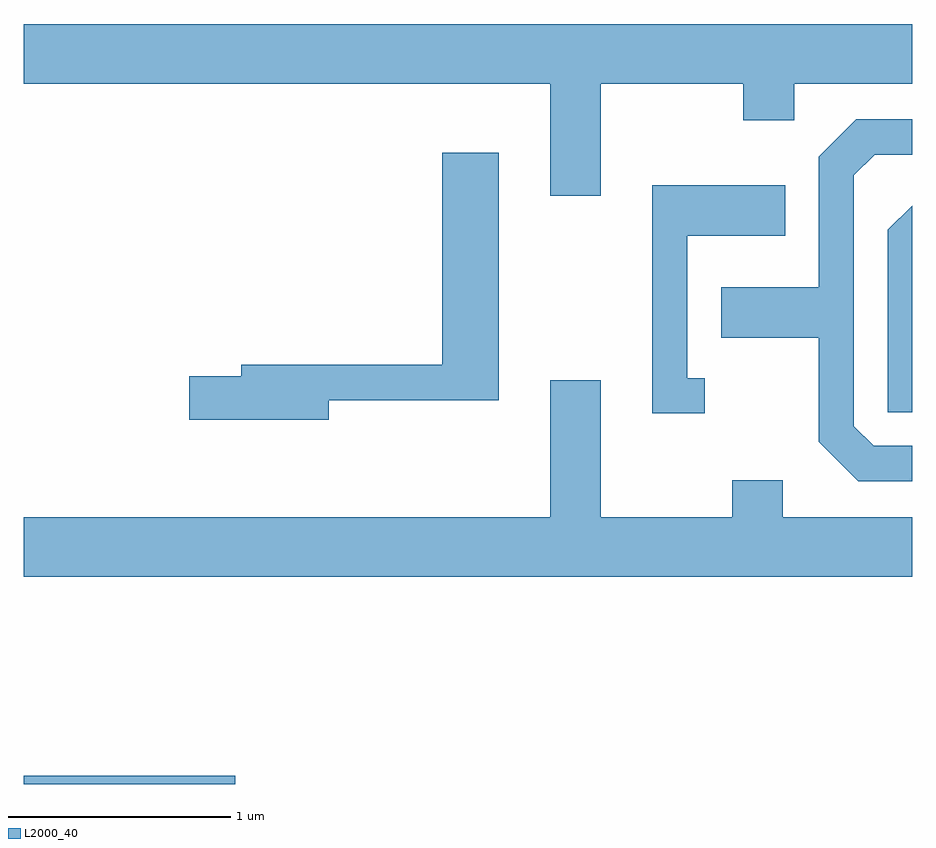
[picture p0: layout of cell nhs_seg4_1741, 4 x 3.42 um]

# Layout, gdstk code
import gdstk
lib = gdstk.Library(unit=1e-6, precision=1e-09)
def R(c, l, rs):  # rectangles x0, y0, x1, y1
    for r in rs: c.add(gdstk.rectangle(r[:2], r[2:], *l))
def P(c, l, *ps):  # polygons
    for p in ps: c.add(gdstk.Polygon(p, *l))
L2000_40 = (2000, 40)

nhs_seg4_1741 = lib.new_cell('nhs_seg4_1741')
R(nhs_seg4_1741, L2000_40, [(235.611,1335.982,236.564,1336.019)])
P(nhs_seg4_1741, L2000_40, [(238.209,1339.136),(238.851,1339.136),(238.851,1338.971),(239.079,1338.971),(239.079,1339.136),(239.611,1339.136),(239.611,1339.404),(235.611,1339.404),(235.611,1339.136),(237.981,1339.136),(237.981,1338.631),(238.209,1338.631)],
  [(239.611,1337.504),(239.437,1337.504),(239.349,1337.592),(239.349,1338.724),(239.442,1338.816),(239.611,1338.816),(239.611,1338.974),(239.359,1338.974),(239.191,1338.807),(239.191,1338.219),(238.751,1338.219),(238.751,1337.991),(239.191,1337.991),(239.191,1337.524),(239.369,1337.346),(239.611,1337.346)],
  [(236.984,1337.711),(237.749,1337.711),(237.749,1338.824),(237.496,1338.824),(237.496,1337.869),(236.591,1337.869),(236.591,1337.819),(236.356,1337.819),(236.356,1337.621),(236.984,1337.621)],
  [(238.678,1337.809),(238.599,1337.809),(238.599,1338.451),(239.039,1338.451),(239.039,1338.679),(238.441,1338.679),(238.441,1337.651),(238.678,1337.651)],
  [(239.611,1338.586),(239.501,1338.477),(239.501,1337.656),(239.611,1337.656)],
  [(239.611,1337.184),(239.029,1337.184),(239.029,1337.349),(238.801,1337.349),(238.801,1337.184),(238.209,1337.184),(238.209,1337.799),(237.981,1337.799),(237.981,1337.184),(235.611,1337.184),(235.611,1336.916),(239.611,1336.916)])

lib.write_gds('nhs_seg4_1741.gds')
